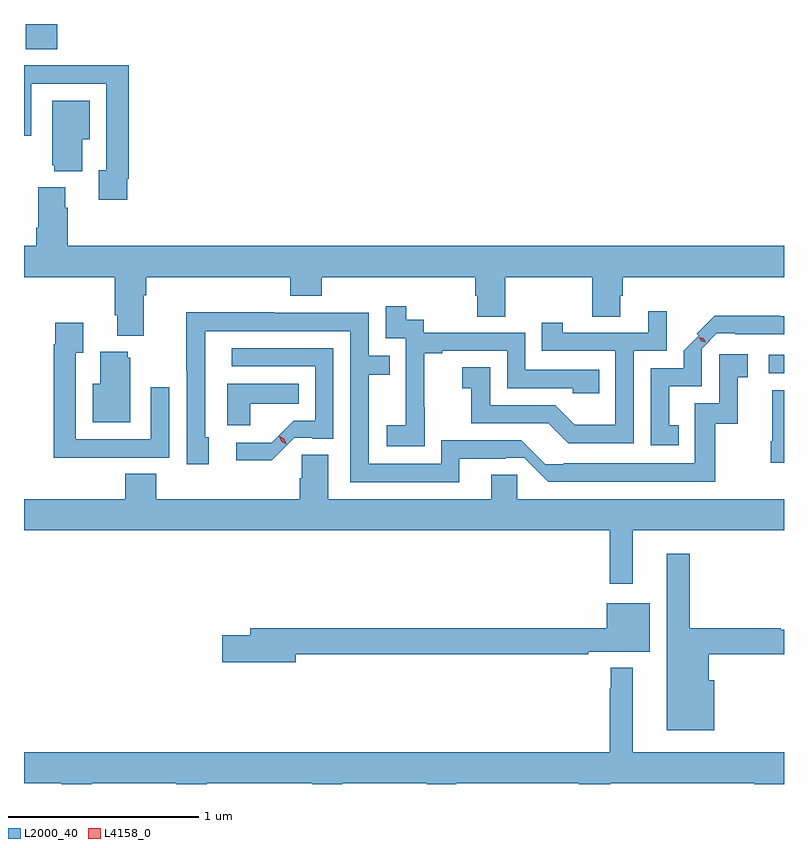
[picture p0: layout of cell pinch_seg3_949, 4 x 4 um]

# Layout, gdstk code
import gdstk
lib = gdstk.Library(unit=1e-6, precision=1e-09)
def R(c, l, rs):  # rectangles x0, y0, x1, y1
    for r in rs: c.add(gdstk.rectangle(r[:2], r[2:], *l))
def P(c, l, *ps):  # polygons
    for p in ps: c.add(gdstk.Polygon(p, *l))
L2000_40 = (2000, 40)
L4158_0 = (4158, 0)

pinch_seg3_949 = lib.new_cell('pinch_seg3_949')
R(pinch_seg3_949, L2000_40, [(500.325,713.73,500.405,713.826), (496.415,715.435,496.58,715.568)])
P(pinch_seg3_949, L2000_40, [(496.948,714.754),(496.955,714.754),(496.955,715.352),(496.663,715.352),(496.663,715.35),(496.405,715.35),(496.405,714.981),(496.443,714.981),(496.443,715.254),(496.839,715.254),(496.839,714.798),(496.799,714.798),(496.799,714.642),(496.948,714.642)],
  [(496.711,714.962),(496.75,714.962),(496.75,715.165),(496.553,715.165),(496.553,714.825),(496.565,714.825),(496.565,714.794),(496.711,714.794)],
  [(497.035,714.14),(497.048,714.14),(497.048,714.236),(497.807,714.236),(497.807,714.137),(497.972,714.137),(497.972,714.236),(498.779,714.236),(498.779,714.138),(498.791,714.138),(498.791,714.028),(498.939,714.028),(498.939,714.236),(499.396,714.236),(499.396,714.028),(499.543,714.028),(499.543,714.138),(499.556,714.138),(499.556,714.236),(500.405,714.236),(500.405,714.4),(496.634,714.4),(496.634,714.602),(496.621,714.602),(496.621,714.709),(496.481,714.709),(496.481,714.496),(496.469,714.496),(496.469,714.4),(496.405,714.4),(496.405,714.236),(496.883,714.236),(496.883,714.034),(496.895,714.034),(496.895,713.927),(497.035,713.927)],
  [(498.513,713.551),(498.512,713.551),(498.512,713.835),(498.607,713.835),(498.607,713.847),(498.948,713.847),(498.948,713.652),(499.293,713.652),(499.293,713.625),(499.433,713.625),(499.433,713.748),(499.044,713.748),(499.044,713.943),(498.51,713.943),(498.51,714.012),(498.418,714.012),(498.418,714.082),(498.309,714.082),(498.309,713.913),(498.414,713.913),(498.414,713.684),(498.413,713.684),(498.413,713.455),(498.315,713.455),(498.315,713.345),(498.513,713.345)],
  [(499.614,713.847),(499.788,713.847),(499.788,714.055),(499.691,714.055),(499.691,713.943),(499.24,713.943),(499.24,713.995),(499.129,713.995),(499.129,713.847),(499.518,713.847),(499.518,713.458),(499.304,713.458),(499.2,713.562),(498.858,713.562),(498.858,713.761),(498.711,713.761),(498.711,713.651),(498.76,713.651),(498.76,713.466),(499.164,713.466),(499.269,713.361),(499.614,713.361)],
  [(498.697,713.28),(498.941,713.28),(498.941,713.286),(499.038,713.286),(499.164,713.16),(500.044,713.16),(500.044,713.463),(500.162,713.463),(500.162,713.709),(500.215,713.709),(500.215,713.83),(500.064,713.83),(500.064,713.571),(499.935,713.571),(499.935,713.256),(499.245,713.256),(499.245,713.25),(499.148,713.25),(499.022,713.376),(498.6,713.376),(498.6,713.253),(498.219,713.253),(498.219,713.722),(498.329,713.722),(498.329,713.823),(498.219,713.823),(498.219,714.048),(497.723,714.048),(497.723,714.05),(497.26,714.05),(497.26,713.743),(497.262,713.743),(497.262,713.25),(497.377,713.25),(497.377,713.394),(497.358,713.394),(497.358,713.952),(498.123,713.952),(498.123,713.157),(498.697,713.157)],
  [(499.85,713.457),(499.801,713.457),(499.801,713.661),(499.971,713.661),(499.971,713.859),(500.052,713.94),(500.149,713.94),(500.149,713.934),(500.405,713.934),(500.405,714.03),(500.384,714.03),(500.384,714.032),(500.041,714.032),(499.947,713.937),(499.957,713.927),(499.878,713.848),(499.878,713.757),(499.704,713.757),(499.704,713.352),(499.85,713.352)],
  [(496.853,713.286),(497.169,713.286),(497.169,713.656),(497.073,713.656),(497.073,713.382),(496.677,713.382),(496.677,713.839),(496.717,713.839),(496.717,713.995),(496.569,713.995),(496.569,713.882),(496.561,713.882),(496.561,713.285),(496.853,713.285)],
  [(497.827,713.391),(497.922,713.391),(497.922,713.385),(498.033,713.385),(498.033,713.862),(497.499,713.862),(497.499,713.766),(497.937,713.766),(497.937,713.481),(497.825,713.481),(497.708,713.364),(497.523,713.364),(497.523,713.273),(497.708,713.273)],
  [(496.963,713.811),(496.952,713.811),(496.952,713.842),(496.805,713.842),(496.805,713.674),(496.766,713.674),(496.766,713.471),(496.963,713.471)],
  [(497.596,713.57),(497.852,713.57),(497.852,713.674),(497.474,713.674),(497.474,713.455),(497.596,713.455)],
  [(500.405,713.641),(500.342,713.641),(500.342,713.371),(500.335,713.371),(500.335,713.259),(500.405,713.259)],
  [(499.609,712.904),(500.405,712.904),(500.405,713.068),(499.002,713.068),(499.002,713.195),(498.863,713.195),(498.863,713.068),(498.007,713.068),(498.007,713.3),(497.868,713.3),(497.868,713.177),(497.855,713.177),(497.855,713.068),(497.102,713.068),(497.102,713.201),(496.937,713.201),(496.937,713.068),(496.405,713.068),(496.405,712.904),(499.488,712.904),(499.488,712.623),(499.609,712.623)],
  [(500.038,712.114),(500.008,712.114),(500.008,712.252),(500.405,712.252),(500.405,712.381),(500.387,712.381),(500.387,712.388),(499.909,712.388),(499.909,712.78),(499.787,712.78),(499.787,711.851),(500.038,711.851)],
  [(497.836,712.252),(499.376,712.252),(499.376,712.265),(499.699,712.265),(499.699,712.519),(499.472,712.519),(499.472,712.388),(497.597,712.388),(497.597,712.352),(497.448,712.352),(497.448,712.21),(497.836,712.21)],
  [(496.405,711.572),(496.601,711.572),(496.601,711.568),(496.761,711.568),(496.761,711.572),(497.206,711.572),(497.206,711.568),(497.366,711.568),(497.366,711.572),(497.921,711.572),(497.921,711.568),(498.081,711.568),(498.081,711.572),(498.526,711.572),(498.526,711.568),(498.681,711.568),(498.681,711.572),(499.325,711.572),(499.325,711.568),(499.49,711.568),(499.49,711.572),(500.249,711.572),(500.249,711.568),(500.405,711.568),(500.405,711.736),(499.609,711.736),(499.609,712.18),(499.494,712.18),(499.494,712.073),(499.488,712.073),(499.488,711.736),(496.405,711.736)])
P(pinch_seg3_949, L4158_0, [(497.784,713.356),(497.759,713.371),(497.749,713.399),(497.749,713.399),(497.75,713.399),(497.775,713.384),(497.784,713.356),(497.784,713.356)],
  [(499.992,713.892),(499.969,713.897),(499.958,713.918),(499.958,713.919),(499.959,713.919),(499.982,713.913),(499.993,713.892),(499.993,713.892)])

lib.write_gds('pinch_seg3_949.gds')
